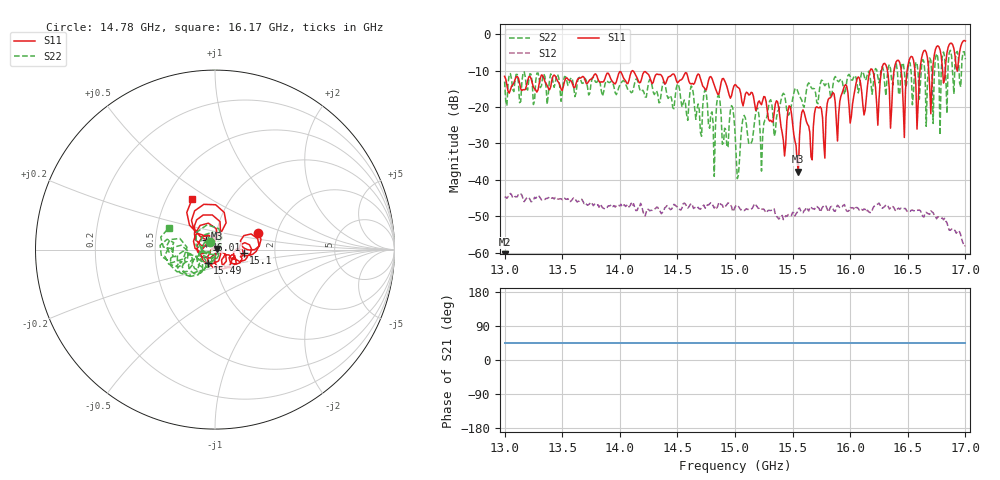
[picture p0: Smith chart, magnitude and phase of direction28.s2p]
!Keysight Technologies,P9374A,MY57211810,A.19.30.04
!Date: Friday, May 02, 2025 09:02:46
!Correction: S11(Off)
!S21(Off)
!S12(Off)
!S22(Off)
!S2P File: Measurements: S11, S21, S12, S22:
# Hz S  dB  R 50
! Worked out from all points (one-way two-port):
!   401 points, 13 GHz to 17 GHz, reference 50 ohm
!   highest |S21| = - dB at 13 GHz (marker M1); lowest = - dB at 13 GHz (marker M2)
!   lowest |S11| = -37.8 dB at 15.55 GHz (marker M3), VSWR 1.03, Z = 51.2 + j0.501 ohm
!   |S11| at or under -10 dB: start of sweep to 14.11 GHz; 14.11 GHz to 16.17 GHz (2.062 GHz wide, 13.6 % of centre); 16.19471 GHz to 16.27151 GHz (76.81 MHz wide, 0.473 % of centre) (the widest 3 of 9)
!   |S22| runs from -39.7 to -4.4 dB; largest |S21 - S12| = 0.0065
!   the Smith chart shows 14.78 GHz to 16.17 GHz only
!   S11 on the Smith chart (normalised r, x): 14.78 GHz: 1.59, +0.32; 15.1 GHz: 1.38, -0.06; 15.49 GHz: 0.91, -0.13; 16.01 GHz: 0.90, +0.10; 16.17 GHz: 0.67, +0.42
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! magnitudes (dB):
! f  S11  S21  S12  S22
! 13 GHz  -11.6  -  -44.8  -13.0
! 13.67 GHz  -11.8  -  -45.3  -13.4
! 14.34 GHz  -11.1  -  -48.3  -18.8
! 14.78 GHz  -11.8  -  -46.6  -25.8
! 15 GHz  -13.8  -  -47.4  -26.9
! 15.1 GHz  -15.9  -  -47.9  -25.0
! 15.37 GHz  -18.6  -  -50.3  -21.2
! 15.42 GHz  -29.2  -  -50.9  -16.2
! 15.49 GHz  -21.7  -  -49.8  -19.4
! 15.55 GHz  -37.8  -  -48.0  -16.1
! 15.59 GHz  -20.8  -  -49.0  -19.5
! 15.67 GHz  -34.5  -  -47.9  -15.0
! 15.84 GHz  -16.7  -  -47.3  -16.9
! 16.01 GHz  -22.6  -  -47.7  -12.6
! 16.17 GHz  -10.2  -  -48.9  -10.9
! 16.34 GHz  -15.3  -  -48.0  -8.3
! 16.41 GHz  -7.1  -  -48.0  -10.2
! 16.47 GHz  -28.4  -  -47.9  -10.0
! 16.53 GHz  -6.1  -  -48.3  -10.7
! 16.58 GHz  -26.1  -  -48.4  -7.9
! 16.64 GHz  -4.5  -  -50.2  -7.5
! 17 GHz  -1.9  -  -58.0  -6.9
